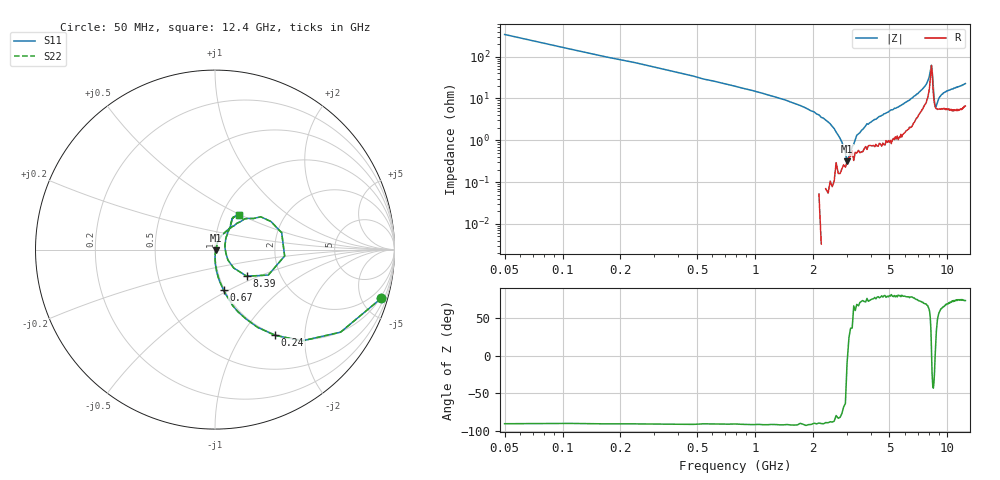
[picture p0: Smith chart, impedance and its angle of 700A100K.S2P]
!  American Technical Ceramics  Date:  3/13/98
!  One Norden Lane
!  Huntington Station,  NY.  11746-2102
!  Tel:  (516) 547-5700  Fax:  (516) 547-5748
!  Part Number  700A100K
!  Description: Porcelain, High Q, Low ESR
!  Application: Bypass, Coupling, Timing, Feedback
!  Tuning, Impedance Match, Blocking
# GHZ S DB R 50
! Freq  |S11|  S11 Ph  |S21|  S21 Ph  |S12|  S12 Ph  |S22|  S22 Ph
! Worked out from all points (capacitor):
!   201 points, 50 MHz to 12.4 GHz, reference 50 ohm
!   read as one part in series: C = 9.53 pF near 110 MHz
!   lowest |Z| = 311 mohm at 3.01 GHz (marker M1)
!   series resonance near 3.026 GHz, so ESL is about 290 pH
!   S11 on the Smith chart (normalised r, x): 50 MHz: 0.85, -6.91; 240 MHz: 0.98, -1.43; 670 MHz: 0.99, -0.47; 8.39 GHz: 1.35, -0.42; 12.4 GHz: 1.21, +0.49
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0.05  -0.30 -16.2  -10.92 73.9  -10.92 73.9  -0.30 -16.2
0.11  -1.54 -33.3  -5.15 56.4  -5.15 56.4  -1.54 -33.3
0.24  -4.67 -54.9  -1.78 35.5  -1.78 35.5  -4.67 -54.9
0.42  -8.64 -69.7  -0.59 21.4  -0.59 21.4  -8.64 -69.7
0.67  -12.75 -78.1  -0.24 13.2  -0.24 13.2  -12.75 -78.1
2.15  -27.38 -89.8  -0.03 2.2  -0.03 2.2  -27.38 -89.8
2.71  -36.48 -81.0  -0.01 0.6  -0.01 0.6  -36.48 -81.0
3.01  -45.55 -43.8  -0.02 -0.1  -0.02 -0.1  -45.55 -43.8
3.14  -46.38 3.8  -0.03 -0.3  -0.03 -0.3  -46.38 3.8
3.45  -38.60 53.2  -0.04 -0.9  -0.04 -0.9  -38.60 53.2
4.19  -32.05 65.2  -0.04 -2.2  -0.04 -2.2  -32.05 65.2
6.23  -22.93 67.5  -0.15 -5.8  -0.15 -5.8  -22.93 67.5
7.65  -14.73 50.6  -0.49 -10.5  -0.49 -10.5  -14.73 50.6
8.08  -10.07 35.6  -1.37 -16.3  -1.37 -16.3  -10.07 35.6
8.2  -8.33 14.2  -2.98 -16.9  -2.98 -16.9  -8.33 14.2
8.32  -9.65 -25.5  -3.63 3.7  -3.63 3.7  -9.65 -25.5
8.39  -12.73 -40.0  -2.29 7.3  -2.29 7.3  -12.73 -40.0
8.57  -23.76 -19.8  -0.73 1.9  -0.73 1.9  -23.76 -19.8
8.63  -24.94 5.5  -0.58 0.5  -0.58 0.5  -24.94 5.5
9.25  -17.46 54.6  -0.37 -4.6  -0.37 -4.6  -17.46 54.6
10.36  -14.78 59.7  -0.38 -6.8  -0.38 -6.8  -14.78 59.7
12.4  -12.64 54.6  -0.40 -10.8  -0.40 -10.8  -12.64 54.6
